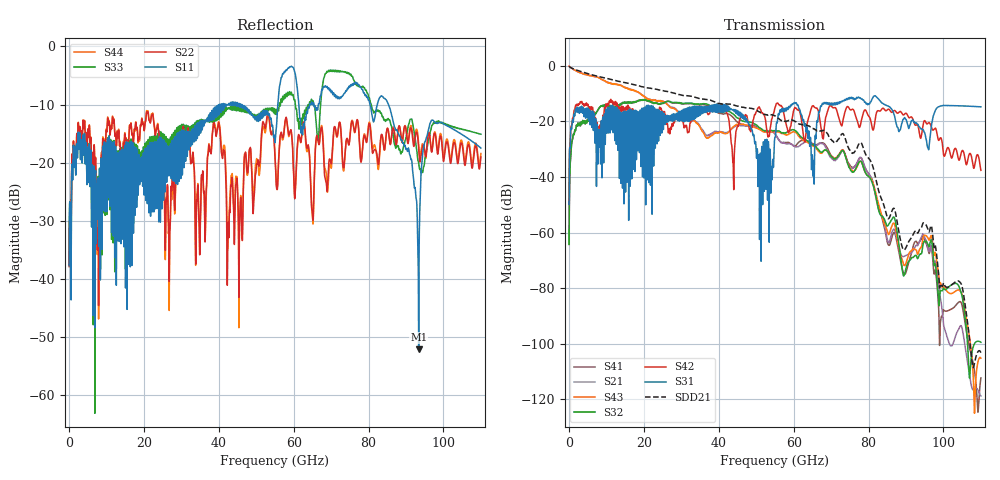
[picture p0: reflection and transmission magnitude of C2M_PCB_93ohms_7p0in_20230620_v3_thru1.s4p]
! Info: Touchstone file created by Circ.  Input file=C2M_PCB_93ohms_7p0in_20230620_v3.circ
# Hz S RI R 50
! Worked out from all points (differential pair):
!   11000 points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, 10 MHz to 110 GHz, reference 50 ohm
!   strongest paths, dB at 10 MHz, 27.51 GHz, 55.01 GHz, 82.51 GHz, 110 GHz:
!     S31: -49.9, -17.5, -25.7, -11.7, -14.7
!     S42: -49.7, -20.8, -15.1, -16.1, -37.6
!     S32: -64.2, -13.2, -23.3, -50.8, -99.5
!     S43: -0.1, -15.3, -23.7, -48.9, -105.2
!     S21: -0.1, -14.9, -24.3, -50.8, -118.8
!     S41: -64.2, -13.4, -24.5, -49.8, -112.3
!   taken as a pair (ports 3,1 in; 4,2 out), SDD21 dB: -0.1, -9.7, -18.0, -44.0, -103.3
!   lowest |S11| = -52.1 dB at 93.38 GHz (marker M1), VSWR 1.00, Z = 50.2 + j0.0897 ohm
!   |S11| at or under -10 dB: start of sweep to 40.3 GHz; 45.87 GHz to 55.75 GHz (9.888 GHz wide, 19.5 % of centre); 85.3 GHz to end of sweep (the widest 3 of 20)
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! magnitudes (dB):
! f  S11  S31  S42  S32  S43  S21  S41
! 10 MHz  -37.7  -49.9  -49.7  -64.2  -0.1  -0.1  -64.2
! 8.43 GHz  -26.7  -34.2  -23.6  -14.5  -4.6  -4.6  -14.5
! 36.34 GHz  -13.1  -15.9  -16.1  -13.6  -25.3  -24.6  -14.0
! 53.95 GHz  -12.4  -40.9  -20.6  -23.3  -23.7  -23.7  -23.8
! 73.11 GHz  -8.5  -12.7  -19.9  -30.4  -30.2  -30.5  -30.3
! 93.38 GHz  -52.1  -21.7  -22.6  -68.7  -67.0  -64.0  -63.8
! 110 GHz  -17.5  -14.7  -37.6  -99.5  -105.2  -118.8  -112.3
